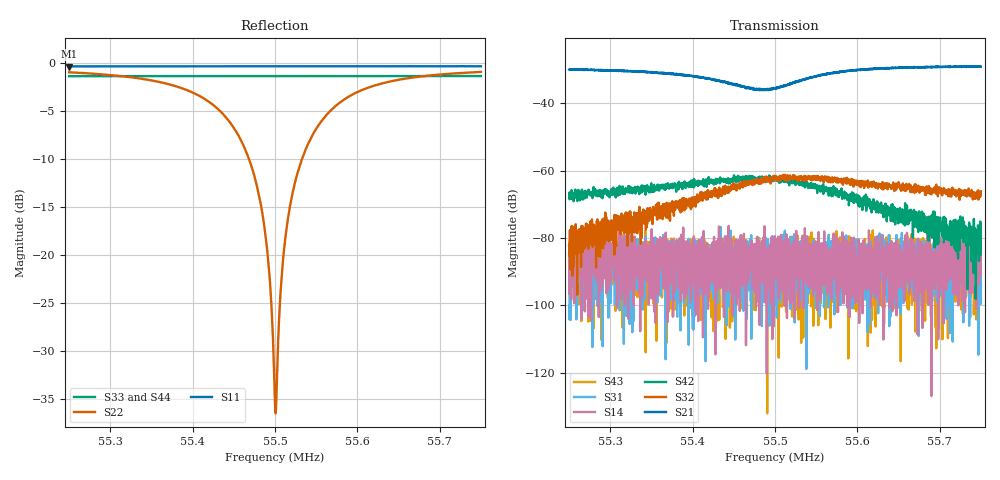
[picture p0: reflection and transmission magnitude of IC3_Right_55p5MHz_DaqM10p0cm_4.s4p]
#  HZ  S  DB  R  50.00
! Rohde & Schwarz Vector Network Analyzer
! Rohde-Schwarz,ZNB8-4Port,1311601044102961,2.82
! Created: UTC 2/13/2019, 2:32:40 PM
! freq[Hz]  db:S11  ang:S11  db:S12  ang:S12  db:S13  ang:S13  db:S14  ang:S14
!  db:S21  ang:S21  db:S22  ang:S22  db:S23  ang:S23  db:S24  ang:S24
!  db:S31  ang:S31  db:S32  ang:S32  db:S33  ang:S33  db:S34  ang:S34
!  db:S41  ang:S41  db:S42  ang:S42  db:S43  ang:S43  db:S44  ang:S44
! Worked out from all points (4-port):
!   2001 points, 55.25 MHz to 55.75 MHz, reference 50 ohm
!   strongest paths, dB at 55.25 MHz, 55.375 MHz, 55.5 MHz, 55.625 MHz, 55.75 MHz:
!     S21: -30.0, -31.2, -35.6, -29.8, -29.1
!     S32: -82.1, -71.5, -62.5, -65.3, -66.2
!     S42: -68.0, -64.1, -62.5, -70.2, -79.5
!     S14: -84.7, -84.6, -82.1, -96.8, -86.5
!     S31: -100.4, -90.8, -91.0, -81.6, -91.8
!     S43: -86.4, -85.4, -87.9, -88.0, -93.8
!   lowest |S11| = -0.4 dB at 55.25 MHz (marker M1), VSWR 42.76, Z = 2.07 + j43.8 ohm
!   |S11| at or under -10 dB: nowhere
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5.525e7  -0.41 97.6  -29.95 75.0  -92.69 98.3  -84.72 -144.6
         -30.02 75.4  -1.01 -127.5  -76.17 7.6  -66.91 -151.5
         -100.41 -25.3  -82.12 44.4  -1.41 24.7  -88.88 84.8
         -92.08 41.8  -68.00 -153.3  -86.42 -11.8  -1.43 31.2
5.545025e7  -0.38 93.8  -34.39 65.3  -93.88 90.1  -89.27 -33.9
            -34.48 64.5  -6.82 179.0  -64.16 -33.1  -63.07 169.5
            -83.00 -171.9  -64.71 -26.8  -1.41 22.2  -82.54 155.2
            -95.64 -54.0  -61.39 171.6  -102.69 45.8  -1.42 28.7
5.548475e7  -0.38 93.1  -36.09 81.2  -85.05 141.2  -92.09 12.1
            -35.85 79.6  -15.75 154.7  -62.21 -43.8  -61.93 154.0
            -90.96 102.8  -62.82 -48.4  -1.41 21.8  -85.32 -22.4
            -85.87 -34.7  -62.85 147.3  -82.54 -110.8  -1.43 28.3
5.550075e7  -0.38 92.9  -35.56 93.4  -87.85 -127.7  -84.63 -51.7
            -35.68 92.1  -36.51 58.1  -62.61 -49.6  -63.01 143.6
            -87.12 135.0  -61.62 -56.6  -1.41 21.6  -88.23 -76.6
            -90.08 -78.0  -61.92 136.4  -82.87 -32.4  -1.42 28.1
5.551625e7  -0.38 92.6  -34.45 100.1  -87.20 129.7  -90.70 35.7
            -34.29 100.2  -15.95 -36.0  -61.42 -68.4  -62.82 126.4
            -84.19 -103.7  -62.01 -68.7  -1.40 21.4  -83.40 5.3
            -80.07 62.1  -63.72 124.5  -88.31 164.1  -1.42 27.9
5.555075e7  -0.38 92.0  -31.79 101.7  -80.20 8.6  -83.18 -136.4
            -32.00 102.1  -6.80 -60.9  -62.14 -86.2  -64.12 104.9
            -84.91 114.9  -62.16 -87.5  -1.40 20.9  -89.47 33.2
            -86.96 -43.4  -64.27 113.8  -86.62 124.9  -1.42 27.4
5.575e7  -0.38 88.3  -29.11 77.3  -77.78 74.2  -86.53 -56.0
         -29.15 77.3  -0.97 -115.7  -66.34 -134.2  -79.61 73.1
         -91.85 76.1  -66.15 -132.5  -1.40 18.4  -89.27 -108.8
         -88.00 -3.5  -79.46 78.2  -93.84 145.3  -1.42 25.0
